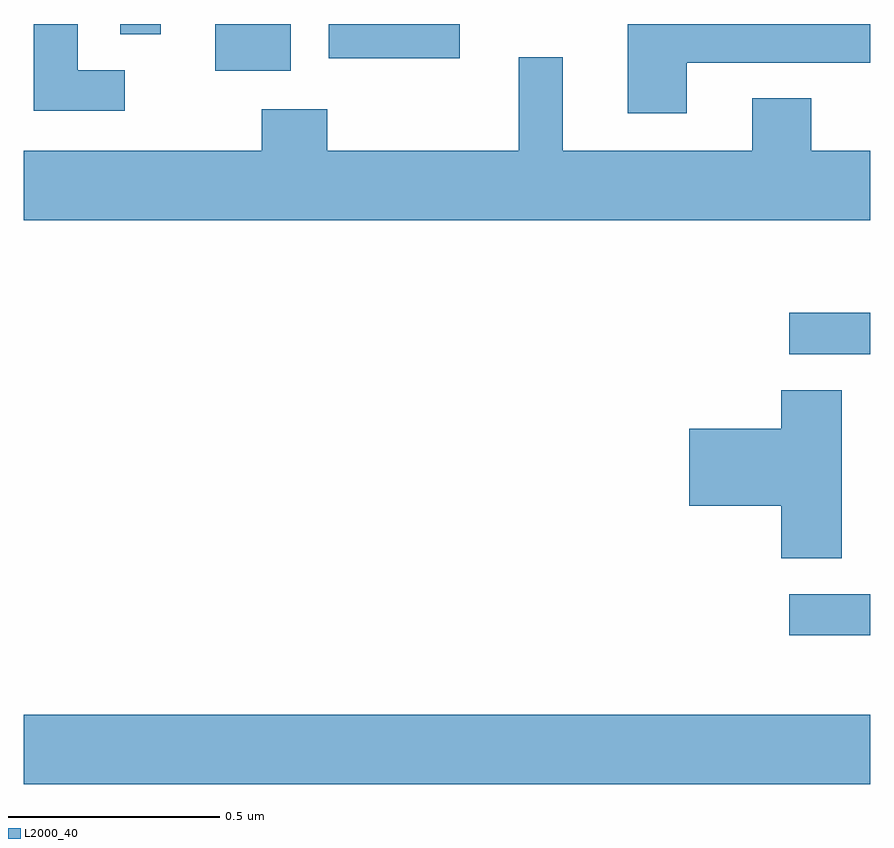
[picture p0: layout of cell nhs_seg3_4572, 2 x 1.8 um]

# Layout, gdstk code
import gdstk
lib = gdstk.Library(unit=1e-6, precision=1e-09)
def R(c, l, rs):  # rectangles x0, y0, x1, y1
    for r in rs: c.add(gdstk.rectangle(r[:2], r[2:], *l))
def P(c, l, *ps):  # polygons
    for p in ps: c.add(gdstk.Polygon(p, *l))
L2000_40 = (2000, 40)

nhs_seg3_4572 = lib.new_cell('nhs_seg3_4572')
R(nhs_seg3_4572, L2000_40, [(168,679.604,170,679.768), (169.809,679.956,170,680.052), (169.809,680.619,170,680.718), (168.452,681.29,168.631,681.4), (168.72,681.319,169.03,681.4), (168.228,681.376,168.324,681.4)])
P(nhs_seg3_4572, L2000_40, [(169.567,681.309),(170,681.309),(170,681.4),(169.427,681.4),(169.427,681.189),(169.567,681.189)],
  [(168.238,681.291),(168.127,681.291),(168.127,681.4),(168.023,681.4),(168.023,681.195),(168.238,681.195)],
  [(170,681.1),(169.861,681.1),(169.861,681.224),(169.721,681.224),(169.721,681.1),(169.273,681.1),(169.273,681.322),(169.169,681.322),(169.169,681.1),(168.717,681.1),(168.717,681.199),(168.562,681.199),(168.562,681.1),(168,681.1),(168,680.936),(170,680.936)],
  [(169.933,680.534),(169.79,680.534),(169.79,680.444),(169.572,680.444),(169.572,680.261),(169.79,680.261),(169.79,680.137),(169.933,680.137)])

lib.write_gds('nhs_seg3_4572.gds')
